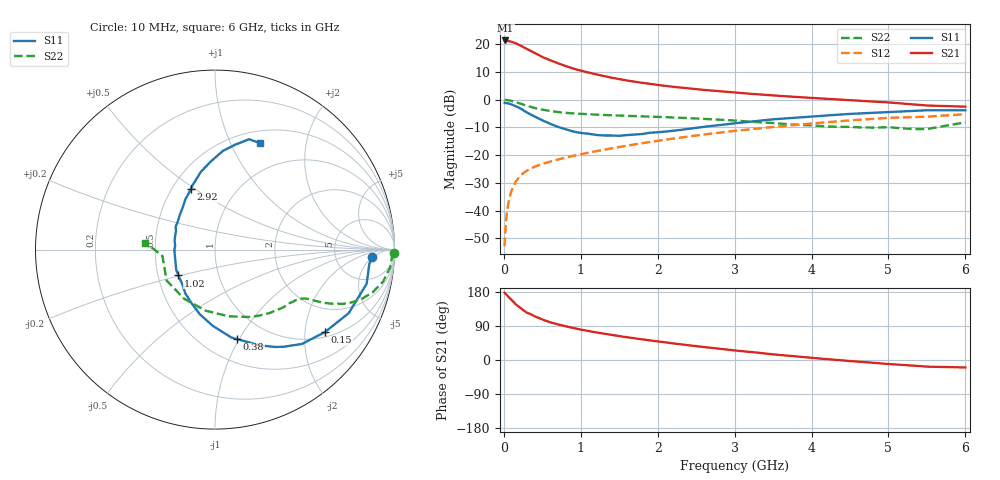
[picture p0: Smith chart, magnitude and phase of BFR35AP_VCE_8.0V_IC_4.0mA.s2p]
! Infineon Technologies  Discrete & RF Semiconductors
! BFR35AP
! VCE =  8.0 V,  IC =  4.0 mA
! Common Emitter S-Parameters:  Nov 2015
# GHz  S  MA  R  50
!  f  S11  S21  S12  S22
! GHz  MAG  ANG  MAG  ANG  MAG  ANG  MAG  ANG
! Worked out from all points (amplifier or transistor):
!   210 points, 10 MHz to 6 GHz, reference 50 ohm
!   highest |S21| = 21.3 dB at 20 MHz (marker M1)
!   |S21| within 3 dB of that: start of sweep to 297.3 MHz
!   unconditionally stable (mu >= 1): 922.3 MHz to 3.127 GHz
!   at 185 MHz: K = 0.32, MSG = 24.1 dB, |S12| = -28.4 dB
!   at 1.52 GHz: K = 1.11, MAG = 10.1 dB, |S12| = -17.0 dB
!   at 6 GHz: K = 0.91, MSG = 1.4 dB, |S12| = -5.3 dB
!   S11 on the Smith chart (normalised r, x): 10 MHz: 13, -5; 150 MHz: 1.15, -2.54; 380 MHz: 0.72, -0.98; 1.02 GHz: 0.64, -0.20; 2.92 GHz: 0.62, +0.48; 6 GHz: 0.64, +1.30
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0.01  0.8754 -2.6  11.6 177.6  0.0023 90.3  0.9961 -1.1
0.02  0.8634 -5.4  11.63 175.1  0.0047 88.3  0.9869 -2.3
0.05  0.8661 -12.7  11.47 168.8  0.0117 83.5  0.9815 -5.7
0.1  0.8249 -25.4  11.05 158.5  0.0229 77.1  0.9529 -10.8
0.15  0.7654 -36.9  10.45 147.7  0.0325 70.5  0.9086 -15.3
0.2  0.7151 -47.3  9.645 139.6  0.0405 66.2  0.8634 -18.5
0.26  0.6376 -58.3  8.756 130.5  0.0483 62.1  0.8082 -21.5
0.3  0.5878 -65.1  8.194 125.1  0.0528 60.6  0.7741 -23.0
0.38  0.5135 -76.2  7.126 117.6  0.0601 57.8  0.7201 -24.7
0.4  0.4985 -79.4  6.881 115.4  0.0619 57.2  0.7067 -25.2
0.5  0.4248 -91.7  5.836 106.6  0.0696 55.8  0.6594 -26.4
0.6  0.3693 -103.4  5.129 99.7  0.0765 55.4  0.6243 -27.1
0.7  0.3245 -114.0  4.534 93.9  0.0831 55.7  0.5982 -27.6
0.8  0.2942 -124.4  4.036 88.8  0.09 55.6  0.5785 -28.2
1.02  0.2496 -144.7  3.27 79.5  0.1051 56.5  0.5527 -29.7
1.4  0.2265 -179.1  2.482 66.3  0.1326 57.4  0.5235 -33.6
2.02  0.2596 143.1  1.824 48.5  0.183 56.3  0.4891 -42.4
2.92  0.3633 111.9  1.373 27.1  0.2656 50.7  0.4271 -61.1
3.1  0.387 107.9  1.31 23.3  0.2828 48.9  0.4106 -65.9
4.1  0.5086 90.4  1.053 4.0  0.3819 38.4  0.3362 -102.8
5.1  0.6067 77.4  0.869 -11.8  0.4738 24.4  0.3102 -152.1
6  0.6435 67.2  0.747 -19.7  0.5457 13.4  0.3901 174.2
